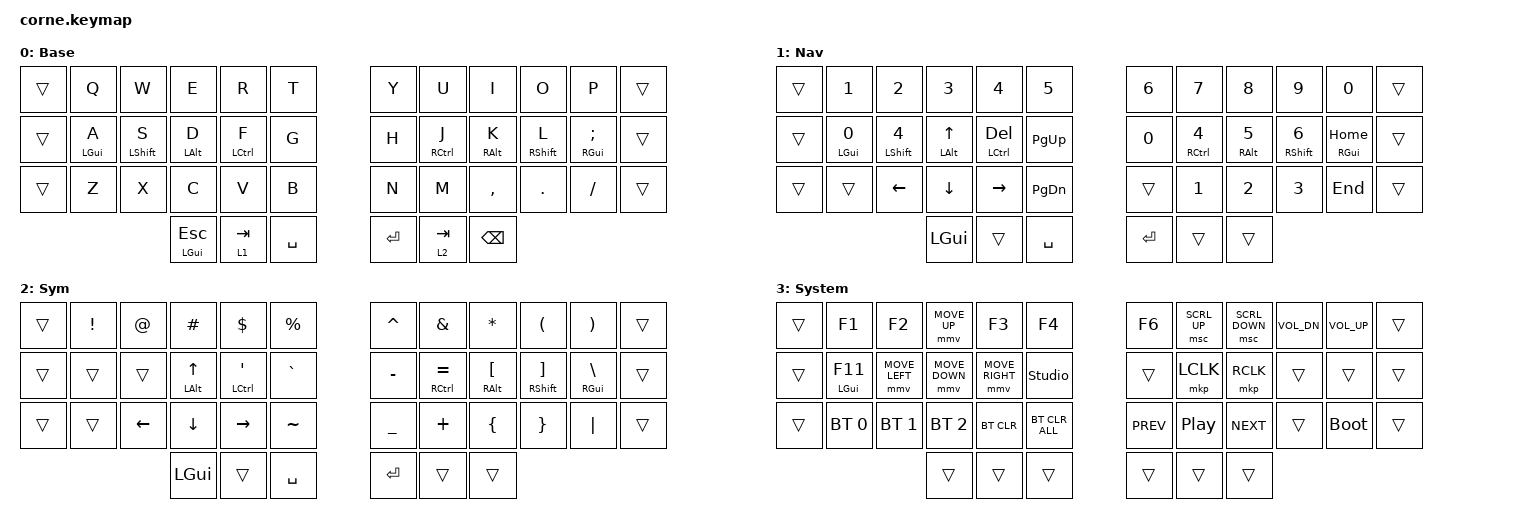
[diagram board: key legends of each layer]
#include <behaviors.dtsi>
#include <dt-bindings/zmk/bt.h>
#include <dt-bindings/zmk/ext_power.h>
#include <dt-bindings/zmk/keys.h>

#define ZMK_POINTING_DEFAULT_MOVE_VAL 1200
#define ZMK_POINTING_DEFAULT_SCRL_VAL 16
#include <dt-bindings/zmk/pointing.h>

#define DEF 0
#define NAV 1
#define SYM 2
#define ADJ 3


/ {
    behaviors {
        hm: homerow_mods {
            compatible = "zmk,behavior-hold-tap";
            label = "HOMEROW_MODS";
            #binding-cells = <2>;
            tapping-term-ms = <200>;
            quick_tap_ms = <0>;
            flavor = "tap-preferred";
            bindings = <&kp>, <&kp>;

            quick-tap-ms = <180>;
            global-quick-tap;
        };

        para: para {
            compatible = "zmk,behavior-tap-dance";
            label = "PARA";
            #binding-cells = <0>;
            bindings = <&kp LEFT_PARENTHESIS>, <&kp RIGHT_PARENTHESIS>;
        };

        caps: caps {
            compatible = "zmk,behavior-caps-word";
            label = "CAPS";
            #binding-cells = <0>;
            continue-list = <MINUS BACKSPACE>;
        };

        paraless: paraless {
            compatible = "zmk,behavior-mod-morph";
            label = "PARALESS";
            bindings = <&kp LEFT_PARENTHESIS>, <&kp LESS_THAN>;

            #binding-cells = <0>;
            mods = <(MOD_LSFT)>;
        };

        paragreat: paragreat {
            compatible = "zmk,behavior-mod-morph";
            label = "PARAGREAT";
            bindings = <&kp RIGHT_PARENTHESIS>, <&kp GREATER_THAN>;

            #binding-cells = <0>;
            mods = <(MOD_LSFT)>;
        };
    };

    combos {
        compatible = "zmk,combos";

        escape {
            bindings = <&kp ESCAPE>;
            key-positions = <13 29>;
        };

        delete {
            bindings = <&kp DELETE>;
            key-positions = <15 21>;
        };

        perc {
            bindings = <&kp PERCENT>;
            key-positions = <5 17>;
        };

        equal {
            bindings = <&kp EQUAL>;
            key-positions = <28 16>;
        };

        dollar {
            bindings = <&kp DOLLAR>;
            key-positions = <4 16>;
        };

        pound {
            bindings = <&kp POUND>;
            key-positions = <3 15>;
        };

        at {
            bindings = <&kp AT>;
            key-positions = <2 14>;
        };

        grave {
            bindings = <&kp GRAVE>;
            key-positions = <14 15>;
        };

        backslash {
            bindings = <&kp BACKSLASH>;
            key-positions = <26 14>;
        };

        copy {
            bindings = <&kp K_COPY>;
            key-positions = <28 27>;
        };

        paste {
            bindings = <&kp K_PASTE>;
            key-positions = <26 27>;
        };

        star {
            bindings = <&kp STAR>;
            key-positions = <8 20>;
        };

        slash {
            bindings = <&kp SLASH>;
            key-positions = <32 20>;
        };

        plus {
            bindings = <&kp PLUS>;
            key-positions = <7 19>;
        };

        minus {
            bindings = <&kp KP_MINUS>;
            key-positions = <31 19>;
        };

        underscore {
            bindings = <&kp UNDER>;
            key-positions = <30 18>;
        };

        leftbrack {
            bindings = <&kp LEFT_BRACKET>;
            key-positions = <31 32>;
        };

        rightbrack {
            bindings = <&kp RIGHT_BRACKET>;
            key-positions = <33 32>;
        };

        para-less {
            bindings = <&paraless>;
            key-positions = <20 19>;
        };

        para-great {
            bindings = <&paragreat>;
            key-positions = <20 21>;
        };
    };

    //

    keymap {
        compatible = "zmk,keymap";

        DEF {
                display-name = "Base";
            // -----------------------------------------------------------------------------------------
            // |  Q  |  W  |  E  |  R  |  T  |   |  Y  |  U   |  I  |  O  |  P  |
            // |  A  |  S  |  D  |  F  |  G  |   |  H  |  J   |  K  |  L  |  ;  |
            // |  Z  |  X  |  C  |  V  |  B  |   |  N  |  M   |  ,  |  .  |  /  |
            //       | ESC+GUI | layer:NAV | SPC |   | RET | layer:SYM | BACKSPACE |

            bindings = <
&trans    &kp Q       &kp W        &kp E       &kp R        &kp T        &kp Y    &kp U        &kp I          &kp O        &kp P          &trans
&trans  &hm LGUI A  &hm LSHFT S  &hm LALT D  &hm LCTRL F  &kp G        &kp H    &hm RCTRL J  &hm RALT K     &hm RSHFT L  &hm RGUI SEMI  &trans
&trans  &kp Z       &kp X        &kp C       &kp V        &kp B        &kp N    &kp M        &kp COMMA      &kp DOT      &kp FSLH       &trans
                                    &hm LGUI ESCAPE   &lt 1 TAB        &kp SPACE    &kp RET  &lt 2 TAB    &kp BACKSPACE
            >;
        };

        NAV {
                display-name = "Nav";
            // -----------------------------------------------------------------------------------------
            // |  TAB |  1  |  2  |  3  |  4  |  5  |   |  6  |  7  |  8  |  9  |  0  | BKSP |
            // | BTCLR| BT1 | BT2 | BT3 | BT4 | BT5 |   | LFT | DWN |  UP | RGT | HOME |      |
            // | SHFT |     |     |     |     |     |   |     |     |     |     | END  |      |
            // | GUI | CTRL | SHFT | LWR | SPC |   | ENT | RSE  | BKSP | ALT | ESC |

            bindings = <
&trans  &kp N1       &kp N2        &kp N3             &kp N4           &kp N5           &kp N6   &kp N7        &kp N8       &kp N9        &kp N0            &trans
&trans  &hm LGUI N0  &hm LSHFT N4  &hm LALT UP_ARROW  &hm LCTRL DEL    &kp PAGE_UP      &kp N0   &hm RCTRL N4  &hm RALT N5  &hm RSHFT N6  &hm RGUI HOME  &trans
&trans  &trans       &kp LEFT      &kp DOWN           &kp RIGHT_ARROW  &kp PAGE_DOWN    &trans   &kp N1        &kp N2       &kp N3        &kp END     &trans
                                   &kp LGUI           &trans           &kp SPACE        &kp RET  &trans        &trans
            >;
        };

        SYM {
                display-name = "Sym";
            // -----------------------------------------------------------------------------------------
            // |  TAB |  !  |  @  |  #  |  $  |  %  |   |  ^  |  &  |  *  |  (  |  )  | BKSP |
            // | CTRL |     |     |     |     |     |   |  -  |  =  |  [  |  ]  |  \  |  `   |
            // | SHFT |     |     |     |     |     |   |  _  |  +  |  {  |  }  | "|" |  ~   |
            //                    | GUI |     | SPC |   | ENT |     | ALT |

            bindings = <
&trans  &kp EXCL  &kp AT          &kp HASH           &kp DLLR         &kp PRCNT    &kp CARET  &kp AMPS         &kp ASTRK      &kp LEFT_PARENTHESIS  &kp RPAR       &trans
&trans  &trans    &trans          &hm LALT UP_ARROW  &hm LCTRL SQT    &kp GRAVE    &kp MINUS  &hm RCTRL EQUAL  &hm RALT LBKT  &hm RSHFT RBKT        &hm RGUI BSLH  &trans
&trans  &trans    &kp LEFT_ARROW  &kp DOWN_ARROW     &kp RIGHT_ARROW  &kp TILDE    &kp UNDER  &kp PLUS         &kp LBRC       &kp RBRC              &kp PIPE       &trans
                                  &kp LGUI           &trans           &kp SPACE    &kp RET    &trans           &trans
            >;
        };

        ADJ {
                display-name = "System";
            // -----------------------------------------------------------------------------------------
            // |  F1    |  F2         |  MOVE_UP    |  F3          |  F4  |             |  F6 |  SCRL_UP |  SCRL_DOWN  | VOL_DN | VOL_UP |
            // |  F11   |  MOVE_LEFT  |  MOVE_DOWN  |  MOVE_RIGHT  |  studio_unlock  |  |     |  LCLK    |  RCLK       |     |     |
            // |  BT_SEL0  |  BT_SEL 1  |  BT_SEL 2  |  BT_CLR  |  BT_CLR_ALL  |        |  N  |  M   |  ,  |  .  |  /  |
            //                                          | GUI | layer:NAV | SPC |       | RET | layer:SYM | BACKSPACE |
            bindings = <
&trans  &kp F1        &kp F2         &mmv MOVE_UP        &kp F3      &kp F4            &kp F6  &msc SCRL_UP  &msc SCRL_DOWN  &kp C_VOL_DN  &kp C_VOL_UP  &trans
&trans  &hm LGUI F11  &mmv MOVE_LEFT  &mmv MOVE_DOWN        &mmv MOVE_RIGHT      &studio_unlock    &trans  &mkp LCLK  &mkp RCLK   &trans        &trans  &trans
&trans  &bt BT_SEL 0  &bt BT_SEL 1   &bt BT_SEL 2  &bt BT_CLR  &bt BT_CLR_ALL    &kp C_PREV        &kp C_PP  &kp C_NEXT  &trans        &bootloader  &trans
                                     &trans        &trans      &trans            &trans  &trans  &trans
            >;
        };
    };

    conditional_layers {
        compatible = "zmk,conditional-layers";

        l3 {
            if-layers = <1 2>;
            then-layer = <3>;
        };
    };
};

&mmv {
    time-to-max-speed-ms = <450>;
    acceleration-exponent = <2>;
};

&msc {
    time-to-max-speed-ms = <300>;
    acceleration-exponent = <1>;
};
